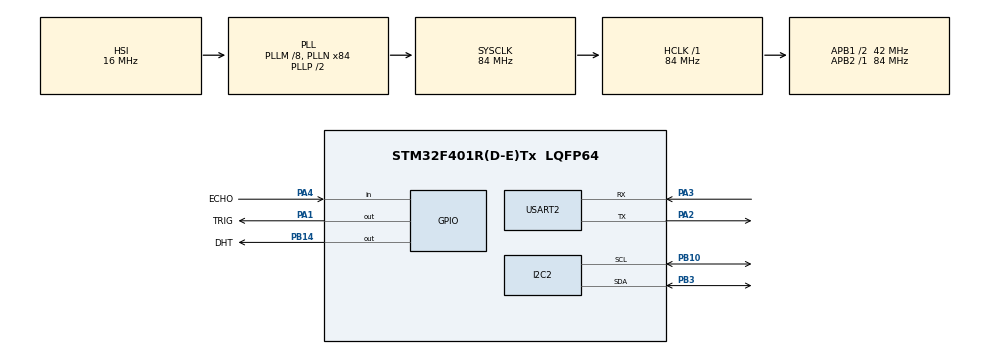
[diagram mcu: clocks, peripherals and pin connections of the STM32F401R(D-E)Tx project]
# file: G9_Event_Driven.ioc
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Mcu.Family=STM32F4
Mcu.Name=STM32F401R(D-E)Tx
Mcu.Package=LQFP64
NVIC.PriorityGroup=NVIC_PRIORITYGROUP_4
NVIC.TIM2_IRQn=true\:1\:0\:true\:false\:true\:true\:true\:true
NVIC.TIM3_IRQn=true\:1\:0\:true\:false\:true\:true\:true\:true
NVIC.USART2_IRQn=true\:1\:0\:true\:false\:true\:true\:true\:true
PA1.GPIO_Label=TRIG
PA1.Signal=GPIO_Output
PA13.Mode=Serial_Wire
PA13.Signal=SYS_JTMS-SWDIO
PA14.Mode=Serial_Wire
PA14.Signal=SYS_JTCK-SWCLK
PA2.Mode=Asynchronous
PA2.Signal=USART2_TX
PA3.Mode=Asynchronous
PA3.Signal=USART2_RX
PA4.GPIO_Label=ECHO
PA4.Signal=GPIO_Input
PB10.Mode=I2C
PB10.Signal=I2C2_SCL
PB14.GPIO_Label=DHT
PB14.Signal=GPIO_Output
PB3.Mode=I2C
PB3.Signal=I2C2_SDA
PH0\ -\ OSC_IN.Mode=HSE-External-Oscillator
PH0\ -\ OSC_IN.Signal=RCC_OSC_IN
PH1\ -\ OSC_OUT.Mode=HSE-External-Oscillator
PH1\ -\ OSC_OUT.Signal=RCC_OSC_OUT
ProjectManager.HeapSize=0x200
ProjectManager.StackSize=0x400
ProjectManager.TargetToolchain=STM32CubeIDE
RCC.48MHZClocksFreq_Value=42000000
RCC.AHBFreq_Value=84000000
RCC.APB1CLKDivider=RCC_HCLK_DIV2
RCC.APB1Freq_Value=42000000
RCC.APB1TimFreq_Value=84000000
RCC.APB2Freq_Value=84000000
RCC.APB2TimFreq_Value=84000000
RCC.CortexFreq_Value=84000000
RCC.HCLKFreq_Value=84000000
RCC.HSE_VALUE=25000000
RCC.HSI_VALUE=16000000
RCC.LSE_VALUE=32768
RCC.PLLM=8
RCC.PLLN=84
RCC.SYSCLKFreq_VALUE=84000000
RCC.SYSCLKSource=RCC_SYSCLKSOURCE_PLLCLK
RCC.VCOOutputFreq_Value=168000000
TIM2.Period=2999
TIM2.Prescaler=41999
TIM3.Period=2999
TIM3.Prescaler=41999
TIM4.Prescaler=83
USART2.VirtualMode=VM_ASYNC
VP_TIM2_VS_ClockSourceINT.Mode=Internal
VP_TIM3_VS_ClockSourceINT.Mode=Internal
VP_TIM4_VS_ClockSourceINT.Mode=Internal
board=custom

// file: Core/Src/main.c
/* USER CODE BEGIN Header */
/**
 ******************************************************************************
 * @file           : main.c
 * @brief          : Main program body
 ******************************************************************************
 * @attention
 *
 * Copyright (c) 2024 STMicroelectronics.
 * All rights reserved.
 *
 * This software is licensed under terms that can be found in the LICENSE file
 * in the root directory of this software component.
 * If no LICENSE file comes with this software, it is provided AS-IS.
 *
 ******************************************************************************
 */
/* USER CODE END Header */
#include "main.h"

/* USER CODE BEGIN Includes */
#include <stdio.h>
#include <string.h>
#include <stdlib.h>
#include "delay_timer.h"
#include "dht11.h"
#include "lcd_i2c.h"
#include "hrf05.h"
#include "taskQueue.h"
/* USER CODE END Includes */

/* USER CODE BEGIN PTD */

/* Display mode */
typedef enum
{
	DISPLAY_DISTANCE,
	DISPLAY_TEMP,
	DISPLAY_HUMI,
	DISPLAY_ALL
} DisplayMode_t;

/* USER CODE END PTD */

/* USER CODE BEGIN PD */
#define MAX_RX_LEN 				13
#define DISPLAY_COMMAND_LEN 	11
#define TIME_COMMAND_LEN 		8
#define TICK_LENGTH_MS 			(0.5) //in ms
/* USER CODE END PD */

I2C_HandleTypeDef hi2c2;

TIM_HandleTypeDef htim2;
TIM_HandleTypeDef htim3;
TIM_HandleTypeDef htim4;

UART_HandleTypeDef huart2;

/* USER CODE BEGIN PV */
/* Sensors Instance */
DHT11_Sensor dht;
LCD_I2C_Name lcd;
SRF05_Device_Name hrf05;

/* Buffers and flags */
DHT11_Status dhtStatus;
char temp[18];
uint8_t rxData[20]; /* UART data receiver buffer */
uint8_t rxDataIndex = 0;
DisplayMode_t DisplayMode = DISPLAY_ALL;
volatile uint8_t isInterrupt = 0;

/* Queue for task */
TaskQueue_t TaskQueue;

float dhtTemp; /* Measurement value of Temperature */
float dhtHumid; /* Measurement value of Humidity */
float distance; /* Measurement value of distance */
/* USER CODE END PV */

void SystemClock_Config(void);
static void MX_GPIO_Init(void);
static void MX_I2C2_Init(void);
static void MX_USART2_UART_Init(void);
static void MX_TIM3_Init(void);
static void MX_TIM4_Init(void);
static void MX_TIM2_Init(void);
/* USER CODE BEGIN PFP */
void Task_Dht_handler();
void Task_Dist_handler();
void Task_Display_handler();
void Task_Uart_Handler();

/* USER CODE END PFP */

/* USER CODE BEGIN 0 */
int __io_putchar(int ch)
{
	HAL_UART_Transmit(&huart2, (uint8_t *)&ch, 1, HAL_MAX_DELAY);

	return ch;
}

/* UART Interrupt Task handler */
void HAL_UART_RxCpltCallback(UART_HandleTypeDef *huart)
{
	if (huart->Instance == huart2.Instance)
	{
		if (rxData[rxDataIndex] == '\n')
		{
			rxData[rxDataIndex] = '\0';
			isInterrupt = 1;
			rxDataIndex = 0;
			Queue_PushRear(&TaskQueue, Task_Uart_Handler);
		}
		else
		{
			rxDataIndex ++;
		}
	}
	HAL_UART_Receive_IT(&huart2, (uint8_t*)&rxData[rxDataIndex], 1);
}

/* Timer callback for task events */
void HAL_TIM_PeriodElapsedCallback(TIM_HandleTypeDef *htim)
{
	/* Task event for dht measuring */
	if(htim == &htim2){
		Queue_PushRear(&TaskQueue, Task_Dht_handler);
		Queue_PushRear(&TaskQueue, Task_Display_handler);
	}
	/* Task event for distance measuring */
	if(htim == &htim3){
		Queue_PushRear(&TaskQueue, Task_Dist_handler);
		Queue_PushRear(&TaskQueue, Task_Display_handler);
	}
}

/* Queue Task Handler */
void Task_Dht_handler(){
//	printf("TASK_DHT_MEASUREMENT IN: %ld\r\n", uwTick);
	dhtStatus = DHT11_GetData(&dht);
	dhtHumid = dht.Humi;
	dhtTemp = dht.Temp;
//	printf("TASK_DHT_MEASUREMENT OUT: %ld\r\n", uwTick);
}

void Task_Dist_handler(){
//	printf("TASK_DIST_MEASUREMENT IN: %ld\r\n", uwTick);
	SRF05_Read(&hrf05);
	distance = hrf05.Distance;
//	printf("TASK_DIST_MEASUREMENT OUT: %ld\r\n", uwTick);
}

void Task_Display_handler(){
//	printf("TASK_DISPLAY_MEASUREMENT IN: %ld\r\n", uwTick);
	LCD_Clear(&lcd);
	switch (DisplayMode){
	case DISPLAY_DISTANCE:
		sprintf(temp, "D: %.2f", distance);
		LCD_SetCursor(&lcd, 0, 0);
		LCD_WriteString(&lcd, temp);
		printf("Distance: %.2f\r\n", distance);
		break;
	case DISPLAY_HUMI:
		sprintf(temp, "H: %.2f", dhtHumid);
		LCD_SetCursor(&lcd, 0, 0);
		LCD_WriteString(&lcd, temp);
		printf("Humidity: %.2f\r\n", dhtHumid);
		break;
	case DISPLAY_TEMP:
		sprintf(temp, "T: %.2f", dhtTemp);
		LCD_SetCursor(&lcd, 0, 0);
		LCD_WriteString(&lcd, temp);
		printf("Temperature: %.2f\r\n", dhtTemp);
		break;
	case DISPLAY_ALL:
		sprintf(temp, "T: %.2f D: %.2f", dhtTemp, distance);
		LCD_SetCursor(&lcd, 0, 0);
		LCD_WriteString(&lcd, temp);
		sprintf(temp, "H: %.2f", dhtHumid);
		LCD_SetCursor(&lcd, 0, 1);
		LCD_WriteString(&lcd, temp);
		printf("Distance: %.2f\r\n", distance);
		printf("Humidity: %.2f\r\n", dhtHumid);
		printf("Temperature: %.2f\r\n", dhtTemp);
		break;
	}
//	printf("TASK_DISPLAY_MEASUREMENT OUT: %ld\r\n", uwTick);
}

void Task_Uart_Handler(){
//	printf("UART Handler IN: %ld\r\n", uwTick);
	/* Given the following commands */
	/* Display Mode (11 characters)
	 * displaytemp
	 * displayhumi
	 * displaydist
	 * displayboth
	 */

	/* Time
	 * timetemp
	 * timehumi
	 * timedist
	 */

	char *command = strtok((char*)rxData, " ");
	char *time = strtok(NULL, " ");
	if (NULL == time){
		if (strcmp((const char*)rxData, "displaytemp") == 0)
		{
			DisplayMode = DISPLAY_TEMP;
			printf("Change Display Mode to DISPLAY_TEMP\r\n\n");
		}
		else if (strcmp((const char*)rxData, "displayhumi") == 0)
		{
			DisplayMode = DISPLAY_HUMI;
			printf("Change Display Mode to DISPLAY_HUMI\r\n\n");
		}
		else if (strcmp((const char*)rxData, "displaydist") == 0)
		{
			DisplayMode = DISPLAY_DISTANCE;
			printf("Change Display Mode to DISPLAY_DIST\r\n\n");
		}
		else if (strcmp((const char*)rxData, "displayboth") == 0)
		{
			DisplayMode = DISPLAY_ALL;
			printf("Change Display Mode to DISPLAY_ALL\r\n\n");
		}
		else
		{
			printf("Error Command Syntax\r\n\n");
		}
	}
	else {
		uint32_t pTime = atoi(time);
		if (strcmp((const char*)command, "timedht1") == 0)
		{
			htim2.Instance->ARR = pTime/TICK_LENGTH_MS - 1 ;
			printf("Change period of temp time to %ld\r\n", pTime);
		}
		else if (strcmp((const char*)command, "timedist") == 0)
		{
			htim3.Instance->ARR = pTime/TICK_LENGTH_MS - 1;
			printf("Change period of dist time to %ld\r\n", pTime);
		}
		else
		{
			printf("Error Command Syntax\r\n\n");
		}
	}
//	printf("UART Handler OUT: %ld\r\n", uwTick);
}
/* USER CODE END 0 */

int main(void)
{

	/* MCU Configuration--------------------------------------------------------*/

	/* Reset of all peripherals, Initializes the Flash interface and the Systick. */
	HAL_Init();

	/* Configure the system clock */
	SystemClock_Config();

	/* Initialize all configured peripherals */
	MX_GPIO_Init();
	MX_I2C2_Init();
	MX_USART2_UART_Init();
	MX_TIM3_Init();
	MX_TIM4_Init();
	MX_TIM2_Init();
	/* USER CODE BEGIN 2 */
	DHT11_Init(&dht, DHT_GPIO_Port, DHT_Pin, &htim4);
	LCD_Init(&lcd, &hi2c2, LDC_DEFAULT_ADDRESS, 20, 4);
	SRF05_Init(&hrf05, ECHO_GPIO_Port, ECHO_Pin, TRIG_GPIO_Port, TRIG_Pin);
	HAL_UART_Receive_IT(&huart2, (uint8_t*)&rxData[rxDataIndex], 1);
	Queue_Init(&TaskQueue, 20);
	HAL_TIM_Base_Start_IT(&htim2);
	HAL_TIM_Base_Start_IT(&htim3);
	printf("Start\r\n");
	/* USER CODE END 2 */

	/* Infinite loop */
	while (1)
	{
		while(TaskQueue.Size != 0){
			pTaskFunction taskHander = Queue_Pop(&TaskQueue);
			taskHander();
		}
	}
}

void SystemClock_Config(void)
{
	RCC_OscInitTypeDef RCC_OscInitStruct = {0};
	RCC_ClkInitTypeDef RCC_ClkInitStruct = {0};

	/** Configure the main internal regulator output voltage
	 */
	__HAL_RCC_PWR_CLK_ENABLE();
	__HAL_PWR_VOLTAGESCALING_CONFIG(PWR_REGULATOR_VOLTAGE_SCALE2);

	/** Initializes the RCC Oscillators according to the specified parameters
	 * in the RCC_OscInitTypeDef structure.
	 */
	RCC_OscInitStruct.OscillatorType = RCC_OSCILLATORTYPE_HSI;
	RCC_OscInitStruct.HSIState = RCC_HSI_ON;
	RCC_OscInitStruct.HSICalibrationValue = RCC_HSICALIBRATION_DEFAULT;
	RCC_OscInitStruct.PLL.PLLState = RCC_PLL_ON;
	RCC_OscInitStruct.PLL.PLLSource = RCC_PLLSOURCE_HSI;
	RCC_OscInitStruct.PLL.PLLM = 8;
	RCC_OscInitStruct.PLL.PLLN = 84;
	RCC_OscInitStruct.PLL.PLLP = RCC_PLLP_DIV2;
	RCC_OscInitStruct.PLL.PLLQ = 4;
	if (HAL_RCC_OscConfig(&RCC_OscInitStruct) != HAL_OK)
	{
		Error_Handler();
	}

	/** Initializes the CPU, AHB and APB buses clocks
	 */
	RCC_ClkInitStruct.ClockType = RCC_CLOCKTYPE_HCLK|RCC_CLOCKTYPE_SYSCLK
			|RCC_CLOCKTYPE_PCLK1|RCC_CLOCKTYPE_PCLK2;
	RCC_ClkInitStruct.SYSCLKSource = RCC_SYSCLKSOURCE_PLLCLK;
	RCC_ClkInitStruct.AHBCLKDivider = RCC_SYSCLK_DIV1;
	RCC_ClkInitStruct.APB1CLKDivider = RCC_HCLK_DIV2;
	RCC_ClkInitStruct.APB2CLKDivider = RCC_HCLK_DIV1;

	if (HAL_RCC_ClockConfig(&RCC_ClkInitStruct, FLASH_LATENCY_2) != HAL_OK)
	{
		Error_Handler();
	}
}

static void MX_I2C2_Init(void)
{

	hi2c2.Instance = I2C2;
	hi2c2.Init.ClockSpeed = 100000;
	hi2c2.Init.DutyCycle = I2C_DUTYCYCLE_2;
	hi2c2.Init.OwnAddress1 = 0;
	hi2c2.Init.AddressingMode = I2C_ADDRESSINGMODE_7BIT;
	hi2c2.Init.DualAddressMode = I2C_DUALADDRESS_DISABLE;
	hi2c2.Init.OwnAddress2 = 0;
	hi2c2.Init.GeneralCallMode = I2C_GENERALCALL_DISABLE;
	hi2c2.Init.NoStretchMode = I2C_NOSTRETCH_DISABLE;
	if (HAL_I2C_Init(&hi2c2) != HAL_OK)
	{
		Error_Handler();
	}

}

static void MX_TIM2_Init(void)
{

	TIM_ClockConfigTypeDef sClockSourceConfig = {0};
	TIM_MasterConfigTypeDef sMasterConfig = {0};

	htim2.Instance = TIM2;
	htim2.Init.Prescaler = 41999;
	htim2.Init.CounterMode = TIM_COUNTERMODE_UP;
	htim2.Init.Period = 2999;
	htim2.Init.ClockDivision = TIM_CLOCKDIVISION_DIV1;
	htim2.Init.AutoReloadPreload = TIM_AUTORELOAD_PRELOAD_DISABLE;
	if (HAL_TIM_Base_Init(&htim2) != HAL_OK)
	{
		Error_Handler();
	}
	sClockSourceConfig.ClockSource = TIM_CLOCKSOURCE_INTERNAL;
	if (HAL_TIM_ConfigClockSource(&htim2, &sClockSourceConfig) != HAL_OK)
	{
		Error_Handler();
	}
	sMasterConfig.MasterOutputTrigger = TIM_TRGO_RESET;
	sMasterConfig.MasterSlaveMode = TIM_MASTERSLAVEMODE_DISABLE;
	if (HAL_TIMEx_MasterConfigSynchronization(&htim2, &sMasterConfig) != HAL_OK)
	{
		Error_Handler();
	}

}

static void MX_TIM3_Init(void)
{

	TIM_ClockConfigTypeDef sClockSourceConfig = {0};
	TIM_MasterConfigTypeDef sMasterConfig = {0};

	htim3.Instance = TIM3;
	htim3.Init.Prescaler = 41999;
	htim3.Init.CounterMode = TIM_COUNTERMODE_UP;
	htim3.Init.Period = 2999;
	htim3.Init.ClockDivision = TIM_CLOCKDIVISION_DIV1;
	htim3.Init.AutoReloadPreload = TIM_AUTORELOAD_PRELOAD_DISABLE;
	if (HAL_TIM_Base_Init(&htim3) != HAL_OK)
	{
		Error_Handler();
	}
	sClockSourceConfig.ClockSource = TIM_CLOCKSOURCE_INTERNAL;
	if (HAL_TIM_ConfigClockSource(&htim3, &sClockSourceConfig) != HAL_OK)
	{
		Error_Handler();
	}
	sMasterConfig.MasterOutputTrigger = TIM_TRGO_RESET;
	sMasterConfig.MasterSlaveMode = TIM_MASTERSLAVEMODE_DISABLE;
	if (HAL_TIMEx_MasterConfigSynchronization(&htim3, &sMasterConfig) != HAL_OK)
	{
		Error_Handler();
	}

}

static void MX_TIM4_Init(void)
{

	TIM_ClockConfigTypeDef sClockSourceConfig = {0};
	TIM_MasterConfigTypeDef sMasterConfig = {0};

	htim4.Instance = TIM4;
	htim4.Init.Prescaler = 83;
	htim4.Init.CounterMode = TIM_COUNTERMODE_UP;
	htim4.Init.Period = 65535;
	htim4.Init.ClockDivision = TIM_CLOCKDIVISION_DIV1;
	htim4.Init.AutoReloadPreload = TIM_AUTORELOAD_PRELOAD_DISABLE;
	if (HAL_TIM_Base_Init(&htim4) != HAL_OK)
	{
		Error_Handler();
	}
	sClockSourceConfig.ClockSource = TIM_CLOCKSOURCE_INTERNAL;
	if (HAL_TIM_ConfigClockSource(&htim4, &sClockSourceConfig) != HAL_OK)
	{
		Error_Handler();
	}
	sMasterConfig.MasterOutputTrigger = TIM_TRGO_RESET;
	sMasterConfig.MasterSlaveMode = TIM_MASTERSLAVEMODE_DISABLE;
	if (HAL_TIMEx_MasterConfigSynchronization(&htim4, &sMasterConfig) != HAL_OK)
	{
		Error_Handler();
	}

}

static void MX_USART2_UART_Init(void)
{

	huart2.Instance = USART2;
	huart2.Init.BaudRate = 115200;
	huart2.Init.WordLength = UART_WORDLENGTH_8B;
	huart2.Init.StopBits = UART_STOPBITS_1;
	huart2.Init.Parity = UART_PARITY_NONE;
	huart2.Init.Mode = UART_MODE_TX_RX;
	huart2.Init.HwFlowCtl = UART_HWCONTROL_NONE;
	huart2.Init.OverSampling = UART_OVERSAMPLING_16;
	if (HAL_UART_Init(&huart2) != HAL_OK)
	{
		Error_Handler();
	}

}

static void MX_GPIO_Init(void)
{
	GPIO_InitTypeDef GPIO_InitStruct = {0};

	/* GPIO Ports Clock Enable */
	__HAL_RCC_GPIOH_CLK_ENABLE();
	__HAL_RCC_GPIOA_CLK_ENABLE();
	__HAL_RCC_GPIOB_CLK_ENABLE();

	/*Configure GPIO pin Output Level */
	HAL_GPIO_WritePin(TRIG_GPIO_Port, TRIG_Pin, GPIO_PIN_RESET);

	/*Configure GPIO pin Output Level */
	HAL_GPIO_WritePin(DHT_GPIO_Port, DHT_Pin, GPIO_PIN_RESET);

	/*Configure GPIO pin : TRIG_Pin */
	GPIO_InitStruct.Pin = TRIG_Pin;
	GPIO_InitStruct.Mode = GPIO_MODE_OUTPUT_PP;
	GPIO_InitStruct.Pull = GPIO_NOPULL;
	GPIO_InitStruct.Speed = GPIO_SPEED_FREQ_LOW;
	HAL_GPIO_Init(TRIG_GPIO_Port, &GPIO_InitStruct);

	/*Configure GPIO pin : ECHO_Pin */
	GPIO_InitStruct.Pin = ECHO_Pin;
	GPIO_InitStruct.Mode = GPIO_MODE_INPUT;
	GPIO_InitStruct.Pull = GPIO_NOPULL;
	HAL_GPIO_Init(ECHO_GPIO_Port, &GPIO_InitStruct);

	/*Configure GPIO pin : DHT_Pin */
	GPIO_InitStruct.Pin = DHT_Pin;
	GPIO_InitStruct.Mode = GPIO_MODE_OUTPUT_PP;
	GPIO_InitStruct.Pull = GPIO_NOPULL;
	GPIO_InitStruct.Speed = GPIO_SPEED_FREQ_LOW;
	HAL_GPIO_Init(DHT_GPIO_Port, &GPIO_InitStruct);

}

void Error_Handler(void)
{
	__disable_irq();
	while (1)
	{
	}
}
